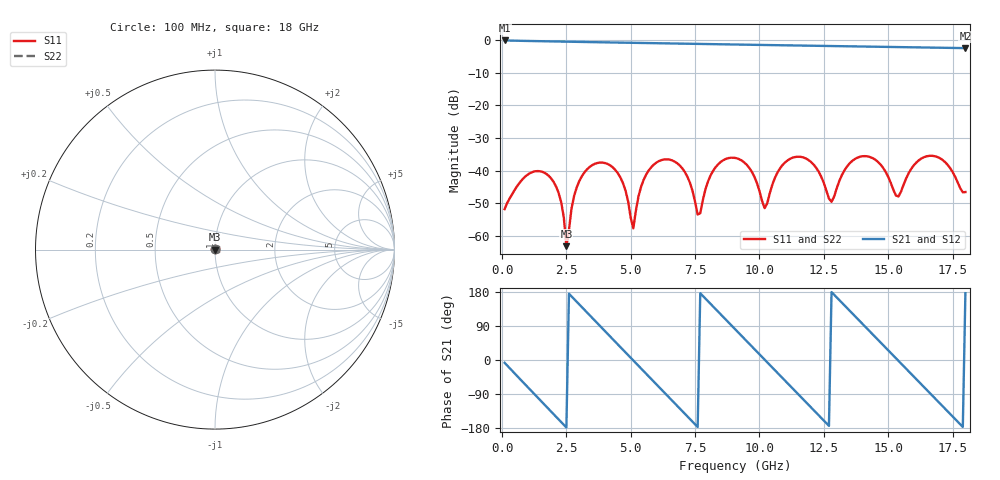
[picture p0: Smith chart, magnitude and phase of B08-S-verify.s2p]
! yapnr rf coupon B: B08 S VER28 (verify, family S)
! stackup JLC06161H-7628, nominal parameters; reference planes 10 mm from each end; 50 ohm (renormalized from the line's Zc)
! model: 2D quasi-static RLGC (Djordjevic-Sarkar, Huray roughness, Wheeler loss); generated by python -m yapnr.rf.coupons expected
# GHz S DB R 50
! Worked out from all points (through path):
!   180 points, 100 MHz to 18 GHz, reference 50 ohm
!   highest |S21| = -0.04 dB at 100 MHz (marker M1); lowest = -2.4 dB at 18 GHz (marker M2)
!   group delay of S21, straight-line fit = 195 ps
!   lowest |S11| = -63.2 dB at 2.5 GHz (marker M3), VSWR 1.00, Z = 50.1 - j0.0236 ohm
!   |S11| at or under -10 dB: start of sweep to end of sweep
!   |S22| runs from -63.2 to -35.5 dB; largest |S21 - S12| = 0
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0.1  -51.85 24.9  -0.04 -7.4  -0.04 -7.4  -51.85 24.9
0.9  -41.87 23.7  -0.18 -64.7  -0.18 -64.7  -41.87 23.7
1.7  -40.91 -20.2  -0.30 -121.5  -0.30 -121.5  -40.91 -20.2
2.2  -46.94 -48.7  -0.37 -156.9  -0.37 -156.9  -46.94 -48.7
2.5  -63.25 -20.0  -0.41 -178.1  -0.41 -178.1  -63.25 -20.0
3.1  -41.77 60.2  -0.50 139.6  -0.50 139.6  -41.77 60.2
3.9  -37.57 9.0  -0.61 83.2  -0.61 83.2  -37.57 9.0
4.8  -46.25 -41.2  -0.73 19.8  -0.73 19.8  -46.25 -41.2
5.1  -57.77 28.9  -0.77 -1.3  -0.77 -1.3  -57.77 28.9
5.5  -42.88 67.1  -0.82 -29.4  -0.82 -29.4  -42.88 67.1
6.1  -37.08 32.6  -0.90 -71.6  -0.90 -71.6  -37.08 32.6
7  -39.31 -21.9  -1.02 -134.7  -1.02 -134.7  -39.31 -21.9
7.6  -53.52 -4.4  -1.10 -176.8  -1.10 -176.8  -53.52 -4.4
9.1  -36.21 6.2  -1.29 78.1  -1.29 78.1  -36.21 6.2
10.4  -47.03 57.5  -1.46 -12.9  -1.46 -12.9  -47.03 57.5
11.3  -36.03 27.8  -1.57 -75.9  -1.57 -75.9  -36.03 27.8
12.1  -38.13 -15.9  -1.67 -131.8  -1.67 -131.8  -38.13 -15.9
12.8  -49.63 19.2  -1.76 179.2  -1.76 179.2  -49.63 19.2
13.8  -36.07 31.3  -1.88 109.4  -1.88 109.4  -36.07 31.3
15.1  -43.77 -20.9  -2.04 18.6  -2.04 18.6  -43.77 -20.9
16.6  -35.49 19.0  -2.23 -86.0  -2.23 -86.0  -35.49 19.0
18  -46.62 25.7  -2.40 176.3  -2.40 176.3  -46.62 25.7
